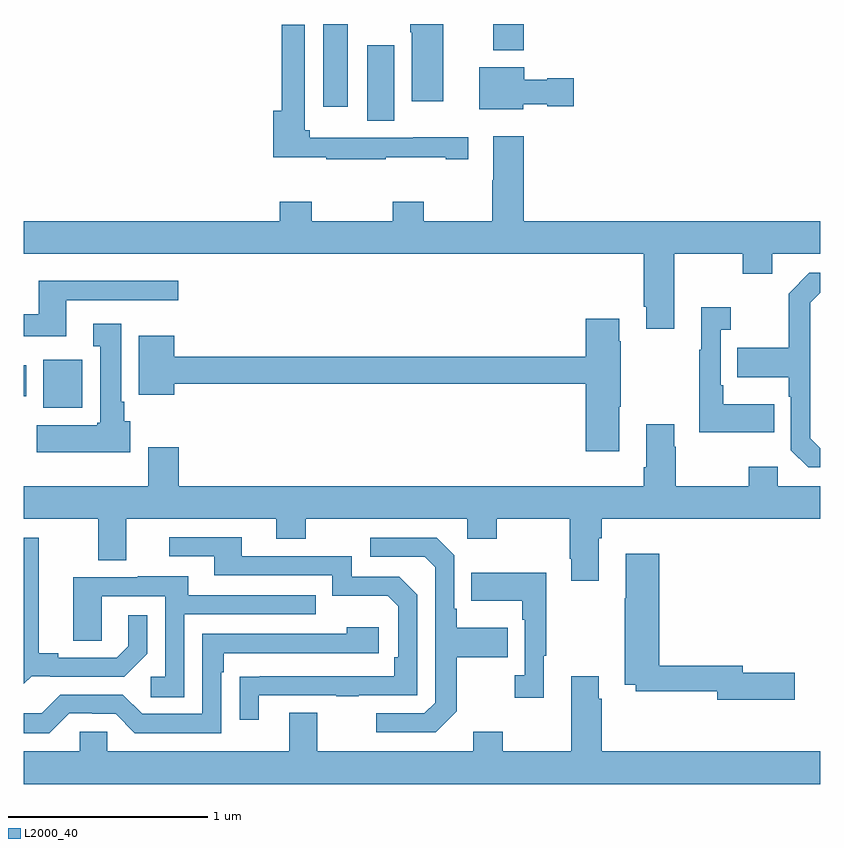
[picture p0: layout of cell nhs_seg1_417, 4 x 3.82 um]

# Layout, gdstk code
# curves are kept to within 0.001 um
import gdstk
lib = gdstk.Library(unit=1e-6, precision=1e-09)
def R(c, l, rs):  # rectangles x0, y0, x1, y1
    for r in rs: c.add(gdstk.rectangle(r[:2], r[2:], *l))
def P(c, l, *ps):  # polygons
    for p in ps: c.add(gdstk.Polygon(p, *l))
L2000_40 = (2000, 40)

nhs_seg1_417 = lib.new_cell('nhs_seg1_417')
R(nhs_seg1_417, L2000_40, [(133.097,572.27,133.294,572.512), (133,572.329,133.012,572.485), (134.726,573.712,134.86,574.093), (134.504,573.783,134.626,574.199), (135.359,574.067,135.512,574.199)])
P(nhs_seg1_417, L2000_40, [(135.106,574.199),(134.941,574.199),(134.941,574.157),(134.948,574.157),(134.948,573.81),(135.106,573.81)],
  [(134.819,573.529),(135.119,573.529),(135.119,573.519),(135.232,573.519),(135.232,573.629),(134.956,573.629),(134.956,573.627),(134.435,573.627),(134.435,573.666),(134.412,573.666),(134.412,574.195),(134.296,574.195),(134.296,573.763),(134.252,573.763),(134.252,573.529),(134.518,573.529),(134.518,573.519),(134.819,573.519)],
  [(135.51,573.797),(135.63,573.797),(135.63,573.785),(135.763,573.785),(135.763,573.927),(135.63,573.927),(135.63,573.919),(135.514,573.919),(135.514,573.982),(135.287,573.982),(135.287,573.77),(135.51,573.77)],
  [(136.267,573.044),(136.612,573.044),(136.612,572.945),(136.759,572.945),(136.759,573.044),(137,573.044),(137,573.208),(135.512,573.208),(135.512,573.634),(135.359,573.634),(135.359,573.413),(135.352,573.413),(135.352,573.208),(135.009,573.208),(135.009,573.307),(134.854,573.307),(134.854,573.208),(134.445,573.208),(134.445,573.307),(134.285,573.307),(134.285,573.208),(133,573.208),(133,573.044),(136.115,573.044),(136.115,572.779),(136.127,572.779),(136.127,572.667),(136.267,572.667)],
  [(137,572.068),(136.95,572.118),(136.95,572.799),(137,572.849),(137,572.949),(136.947,572.949),(136.842,572.843),(136.842,572.571),(136.585,572.571),(136.585,572.423),(136.842,572.423),(136.842,572.327),(136.854,572.327),(136.854,572.058),(136.941,571.971),(137,571.971)],
  [(133.213,572.811),(133.774,572.811),(133.774,572.908),(133.073,572.908),(133.073,572.74),(133,572.74),(133,572.63),(133.213,572.63)],
  [(136.769,572.287),(136.513,572.287),(136.513,572.383),(136.5,572.383),(136.5,572.663),(136.552,572.663),(136.552,572.776),(136.403,572.776),(136.403,572.563),(136.392,572.563),(136.392,572.147),(136.769,572.147)],
  [(135.991,572.275),(135.999,572.275),(135.999,572.606),(135.991,572.606),(135.991,572.719),(135.824,572.719),(135.824,572.528),(133.756,572.528),(133.756,572.632),(133.577,572.632),(133.577,572.336),(133.756,572.336),(133.756,572.392),(135.824,572.392),(135.824,572.052),(135.991,572.052)],
  [(133.534,572.202),(133.504,572.202),(133.504,572.302),(133.489,572.302),(133.489,572.692),(133.349,572.692),(133.349,572.579),(133.382,572.579),(133.382,572.196),(133.369,572.196),(133.369,572.182),(133.065,572.182),(133.065,572.048),(133.534,572.048)],
  [(135.889,571.616),(135.902,571.616),(135.902,571.712),(137,571.712),(137,571.876),(136.788,571.876),(136.788,571.975),(136.642,571.975),(136.642,571.876),(136.275,571.876),(136.275,572.075),(136.267,572.075),(136.267,572.188),(136.127,572.188),(136.127,571.972),(136.115,571.972),(136.115,571.876),(133.778,571.876),(133.778,572.071),(133.625,572.071),(133.625,571.876),(133,571.876),(133,571.712),(133.373,571.712),(133.373,571.504),(133.513,571.504),(133.513,571.712),(134.267,571.712),(134.267,571.613),(134.415,571.613),(134.415,571.712),(135.228,571.712),(135.228,571.613),(135.375,571.613),(135.375,571.712),(135.742,571.712),(135.742,571.513),(135.749,571.513),(135.749,571.401),(135.889,571.401)],
  [(134.179,570.825),(134.569,570.825),(134.569,570.82),(134.681,570.82),(134.681,570.825),(134.976,570.825),(134.976,571.332),(134.886,571.422),(134.646,571.422),(134.646,571.524),(134.095,571.524),(134.095,571.62),(133.731,571.62),(133.731,571.524),(133.955,571.524),(133.955,571.428),(134.55,571.428),(134.55,571.325),(134.827,571.325),(134.88,571.272),(134.88,571.018),(134.86,571.018),(134.86,570.921),(134.083,570.92),(134.083,570.702),(134.179,570.702)],
  [(133.038,570.921),(133.132,570.921),(133.132,570.918),(133.504,570.918),(133.62,571.034),(133.62,571.228),(133.523,571.228),(133.523,571.071),(133.466,571.014),(133.171,571.014),(133.171,571.037),(133.075,571.037),(133.075,571.617),(133,571.617),(133,570.883)],
  [(135.175,570.745),(135.175,571.018),(135.431,571.018),(135.431,571.165),(135.175,571.165),(135.175,571.261),(135.162,571.261),(135.162,571.53),(135.075,571.617),(134.739,571.617),(134.739,571.521),(135.015,571.521),(135.066,571.47),(135.066,570.789),(135.012,570.735),(134.769,570.735),(134.769,570.639),(135.069,570.639)],
  [(136.873,570.938),(136.612,570.938),(136.612,570.974),(136.193,570.974),(136.193,571.537),(136.025,571.537),(136.025,571.313),(136.018,571.313),(136.018,570.878),(136.074,570.878),(136.074,570.846),(136.484,570.846),(136.484,570.803),(136.873,570.803)],
  [(135.613,571.025),(135.625,571.025),(135.625,571.441),(135.247,571.441),(135.247,571.301),(135.504,571.301),(135.504,571.205),(135.516,571.205),(135.516,570.926),(135.465,570.926),(135.465,570.813),(135.613,570.813)],
  [(133.806,571.233),(134.465,571.233),(134.465,571.329),(133.825,571.329),(133.825,571.423),(133.571,571.423),(133.571,571.419),(133.247,571.419),(133.247,571.099),(133.392,571.099),(133.392,571.323),(133.71,571.323),(133.71,570.918),(133.638,570.918),(133.638,570.817),(133.806,570.817)],
  [(133.227,570.735),(133.343,570.735),(133.343,570.732),(133.461,570.732),(133.557,570.636),(133.992,570.636),(133.992,570.941),(134.005,570.941),(134.005,571.038),(134.782,571.038),(134.782,571.168),(134.621,571.168),(134.621,571.134),(133.896,571.134),(133.896,570.732),(133.593,570.732),(133.497,570.828),(133.182,570.828),(133.089,570.735),(133,570.735),(133,570.635),(133.127,570.635)],
  [(137,570.544),(135.902,570.544),(135.902,570.809),(135.889,570.809),(135.889,570.922),(135.749,570.922),(135.749,570.544),(135.405,570.544),(135.405,570.643),(135.257,570.643),(135.257,570.544),(134.473,570.544),(134.473,570.739),(134.333,570.739),(134.333,570.544),(133.419,570.544),(133.419,570.642),(133.281,570.642),(133.281,570.544),(133,570.544),(133,570.38),(137,570.38)])

lib.write_gds('nhs_seg1_417.gds')
